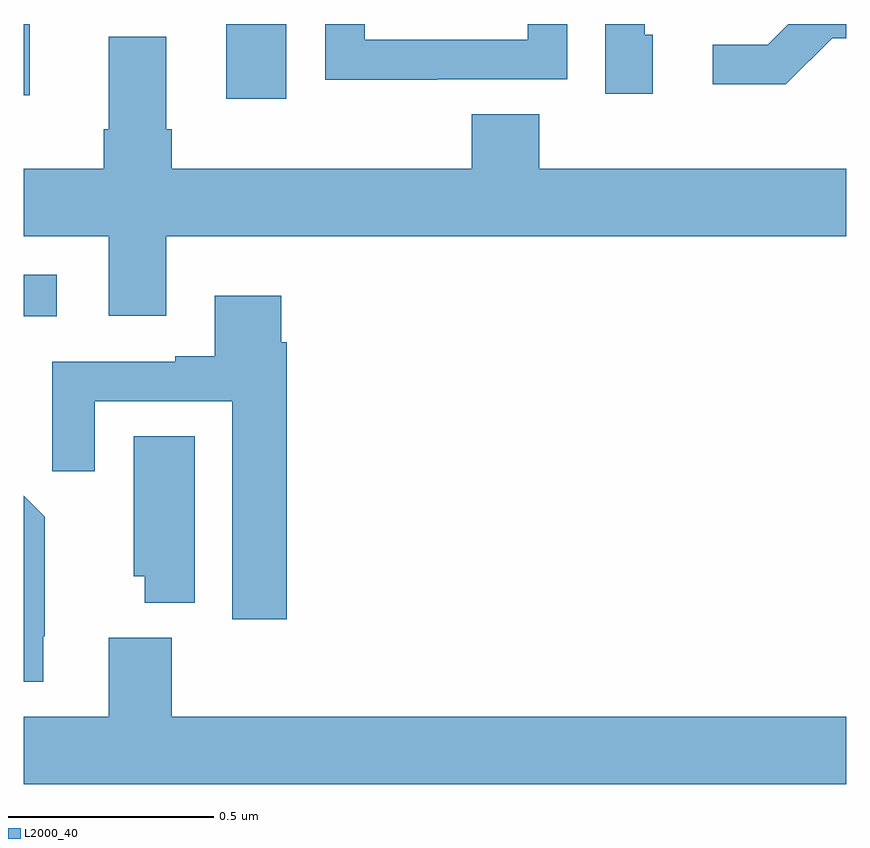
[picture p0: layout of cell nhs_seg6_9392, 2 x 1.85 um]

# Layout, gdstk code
import gdstk
lib = gdstk.Library(unit=1e-6, precision=1e-09)
def R(c, l, rs):  # rectangles x0, y0, x1, y1
    for r in rs: c.add(gdstk.rectangle(r[:2], r[2:], *l))
def P(c, l, *ps):  # polygons
    for p in ps: c.add(gdstk.Polygon(p, *l))
L2000_40 = (2000, 40)

nhs_seg6_9392 = lib.new_cell('nhs_seg6_9392')
R(nhs_seg6_9392, L2000_40, [(233,965.789,233.08,965.89), (233.492,966.318,233.638,966.5), (233,966.327,233.015,966.5)])
P(nhs_seg6_9392, L2000_40, [(234.005,966.366),(234.321,966.366),(234.321,966.5),(234.225,966.5),(234.225,966.462),(233.829,966.462),(233.829,966.5),(233.733,966.5),(233.733,966.365),(234.005,966.365)],
  [(234.529,966.474),(234.51,966.474),(234.51,966.5),(234.414,966.5),(234.414,966.33),(234.529,966.33)],
  [(234.966,966.465),(235,966.465),(235,966.5),(234.859,966.5),(234.809,966.45),(234.675,966.45),(234.675,966.353),(234.853,966.353)],
  [(233.347,965.984),(235,965.984),(235,966.148),(234.254,966.148),(234.254,966.281),(234.089,966.281),(234.089,966.148),(233.36,966.148),(233.36,966.244),(233.347,966.244),(233.347,966.469),(233.207,966.469),(233.207,966.244),(233.195,966.244),(233.195,966.148),(233,966.148),(233,965.984),(233.207,965.984),(233.207,965.79),(233.347,965.79)],
  [(233.639,965.726),(233.626,965.726),(233.626,965.839),(233.465,965.839),(233.465,965.692),(233.369,965.692),(233.369,965.679),(233.069,965.679),(233.069,965.412),(233.173,965.412),(233.173,965.583),(233.507,965.583),(233.507,965.052),(233.639,965.052)],
  [(233.416,965.498),(233.267,965.498),(233.267,965.157),(233.294,965.157),(233.294,965.093),(233.416,965.093)],
  [(233.047,965.011),(233.051,965.011),(233.051,965.302),(233,965.353),(233,964.901),(233.047,964.901)],
  [(235,964.816),(233.36,964.816),(233.36,965.008),(233.207,965.008),(233.207,964.816),(233,964.816),(233,964.652),(235,964.652)])

lib.write_gds('nhs_seg6_9392.gds')
